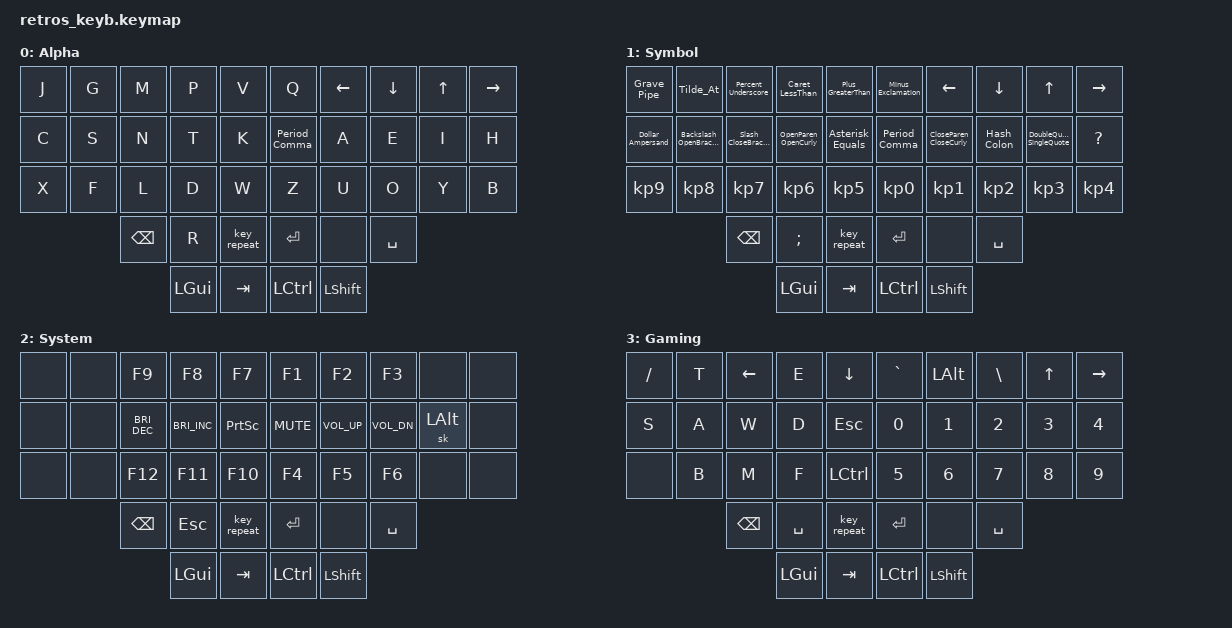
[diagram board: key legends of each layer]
/*
 * Copyright (c) 2020 The ZMK Contributors
 *
 * SPDX-License-Identifier: MIT
 */

#include <behaviors.dtsi>
#include <dt-bindings/zmk/keys.h>

#define DEFAULT 0
#define LOWER  1
#define RAISE  2

/ {
    combos {
        compatible = "zmk,combos";

        switch_to_alpha {
            bindings = <&to 0>;
            key-positions = <34 6>;
        };

        switch_to_symbol {
            bindings = <&to 1>;
            key-positions = <34 7>;
        };

        switch_to_system {
            bindings = <&to 2>;
            key-positions = <34 8>;
        };

        switch_to_workspace1 {
            bindings = <&kp LG(KP_NUMBER_1)>;
            key-positions = <34 35 15>;
        };

        switch_to_workspace2 {
            bindings = <&kp LG(KP_NUMBER_2)>;
            key-positions = <34 35 16>;
        };

        switch_to_workspace3 {
            bindings = <&kp LG(KP_NUMBER_3)>;
            key-positions = <34 35 17>;
        };

        switch_to_workspace4 {
            bindings = <&kp LG(KP_NUMBER_4)>;
            key-positions = <34 35 18>;
        };

        switch_to_workspace5 {
            bindings = <&kp LG(KP_NUMBER_5)>;
            key-positions = <34 35 19>;
        };

        switch_to_workspace6 {
            bindings = <&kp LG(KP_NUMBER_6)>;
            key-positions = <34 35 14>;
        };

        switch_to_workspace7 {
            bindings = <&kp LG(KP_NUMBER_7)>;
            key-positions = <34 35 13>;
        };

        switch_to_workspace8 {
            bindings = <&kp LG(KP_NUMBER_8)>;
            key-positions = <34 35 12>;
        };

        switch_to_workspace9 {
            bindings = <&kp LG(KP_NUMBER_9)>;
            key-positions = <34 35 11>;
        };

        switch_to_workspace10 {
            bindings = <&kp LG(KP_NUMBER_0)>;
            key-positions = <34 35 10>;
        };

        Home {
            bindings = <&kp HOME>;
            key-positions = <38 36 6>;
        };

        PageDown {
            bindings = <&kp PAGE_DOWN>;
            key-positions = <38 36 7>;
        };

        PageUp {
            bindings = <&kp PG_UP>;
            key-positions = <38 36 8>;
        };

        End {
            bindings = <&kp END>;
            key-positions = <38 36 9>;
        };

        switch_to_gaming {
            bindings = <&to 3>;
            key-positions = <34 9>;
        };

        gaming_F1 {
            bindings = <&kp F1>;
            key-positions = <20 16>;
            layers = <3>;
        };

        gaming_F2 {
            bindings = <&kp F2>;
            key-positions = <20 17>;
            layers = <3>;
        };

        gaming_F3 {
            bindings = <&kp F3>;
            key-positions = <20 18>;
            layers = <3>;
        };

        gaming_F4 {
            bindings = <&kp F4>;
            key-positions = <20 19>;
            layers = <3>;
        };

        gaming_F5 {
            bindings = <&kp F5>;
            key-positions = <20 25>;
            layers = <3>;
        };

        gaming_F6 {
            bindings = <&kp F6>;
            key-positions = <20 26>;
            layers = <3>;
        };

        gaming_F7 {
            bindings = <&kp F7>;
            key-positions = <20 27>;
            layers = <3>;
        };

        gaming_F8 {
            bindings = <&kp F8>;
            key-positions = <20 28>;
            layers = <3>;
        };

        gaming_F9 {
            bindings = <&kp F9>;
            key-positions = <20 29>;
            layers = <3>;
        };

        gaming_F10 {
            bindings = <&kp F10>;
            key-positions = <20 15>;
            layers = <3>;
        };

        gaming_F11 {
            bindings = <&kp F11>;
            key-positions = <20 5>;
            layers = <3>;
        };

        gaming_F12 {
            bindings = <&kp F12>;
            key-positions = <20 6>;
            layers = <3>;
        };
    };

    behaviors {
        Period_Comma: Period_Comma {
            compatible = "zmk,behavior-mod-morph";
            label = "PERIOD_COMMA";
            bindings = <&kp PERIOD>, <&kp COMMA>;

            #binding-cells = <0>;
            mods = <(MOD_LSFT|MOD_RSFT)>;
        };

        Grave_Pipe: Grave_Pipe {
            compatible = "zmk,behavior-mod-morph";
            label = "GRAVE_PIPE";
            bindings = <&kp GRAVE>, <&kp PIPE>;

            #binding-cells = <0>;
            mods = <(MOD_LSFT|MOD_RSFT)>;
        };

        Tilde_At: Tilde_At {
            compatible = "zmk,behavior-mod-morph";
            label = "TILDE_AT";
            bindings = <&kp TILDE>, <&kp AT_SIGN>;

            #binding-cells = <0>;
            mods = <(MOD_LSFT|MOD_RSFT)>;
        };

        Percent_Underscore: Percent_Underscore {
            compatible = "zmk,behavior-mod-morph";
            label = "PERCENT_UNDERSCORE";
            bindings = <&kp PERCENT>, <&kp UNDERSCORE>;

            #binding-cells = <0>;
            mods = <(MOD_LSFT|MOD_RSFT)>;
        };

        Caret_LessThan: Caret_LessThan {
            compatible = "zmk,behavior-mod-morph";
            label = "CARET_LESSTHAN";
            bindings = <&kp CARET>, <&kp LESS_THAN>;

            #binding-cells = <0>;
            mods = <(MOD_LSFT|MOD_RSFT)>;
        };

        Plus_GreaterThan: Plus_GreaterThan {
            compatible = "zmk,behavior-mod-morph";
            label = "PLUS_GREATERTHAN";
            bindings = <&kp PLUS>, <&kp GREATER_THAN>;

            #binding-cells = <0>;
            mods = <(MOD_LSFT|MOD_RSFT)>;
        };

        Minus_Exclamation: Minus_Exclamation {
            compatible = "zmk,behavior-mod-morph";
            label = "MINUS_EXCLAMATION";
            bindings = <&kp MINUS>, <&kp EXCLAMATION>;

            #binding-cells = <0>;
            mods = <(MOD_LSFT|MOD_RSFT)>;
        };

        Dollar_Ampersand: Dollar_Ampersand {
            compatible = "zmk,behavior-mod-morph";
            label = "DOLLAR_AMPERSAND";
            bindings = <&kp DOLLAR>, <&kp AMPERSAND>;

            #binding-cells = <0>;
            mods = <(MOD_LSFT|MOD_RSFT)>;
        };

        Backslash_OpenBracket: Backslash_OpenBracket {
            compatible = "zmk,behavior-mod-morph";
            label = "BACKSLASH_OPENBRACKET";
            bindings = <&kp BACKSLASH>, <&kp LEFT_BRACKET>;

            #binding-cells = <0>;
            mods = <(MOD_LSFT|MOD_RSFT)>;
        };

        Slash_CloseBracket: Slash_CloseBracket {
            compatible = "zmk,behavior-mod-morph";
            label = "SLASH_CLOSEBRACKET";
            bindings = <&kp SLASH>, <&kp RIGHT_BRACKET>;

            #binding-cells = <0>;
            mods = <(MOD_LSFT|MOD_RSFT)>;
        };

        OpenParen_OpenCurly: OpenParen_OpenCurly {
            compatible = "zmk,behavior-mod-morph";
            label = "OPENPAREN_OPENCURLY";
            bindings = <&kp LEFT_PARENTHESIS>, <&kp LEFT_BRACE>;

            #binding-cells = <0>;
            mods = <(MOD_LSFT|MOD_RSFT)>;
        };

        Asterisk_Equals: Asterisk_Equals {
            compatible = "zmk,behavior-mod-morph";
            label = "ASTERISK_EQUALS";
            bindings = <&kp ASTERISK>, <&kp EQUAL>;

            #binding-cells = <0>;
            mods = <(MOD_LSFT|MOD_RSFT)>;
        };

        CloseParen_CloseCurly: CloseParen_CloseCurly {
            compatible = "zmk,behavior-mod-morph";
            label = "CLOSEPAREN_CLOSECURLY";
            bindings = <&kp RIGHT_PARENTHESIS>, <&kp RIGHT_BRACE>;

            #binding-cells = <0>;
            mods = <(MOD_LSFT|MOD_RSFT)>;
        };

        Hash_Colon: Hash_Colon {
            compatible = "zmk,behavior-mod-morph";
            label = "HASH_COLON";
            bindings = <&kp HASH>, <&kp COLON>;

            #binding-cells = <0>;
            mods = <(MOD_LSFT|MOD_RSFT)>;
        };

        DoubleQuote_SingleQuote: DoubleQuote_SingleQuote {
            compatible = "zmk,behavior-mod-morph";
            label = "DOUBLEQUOTE_SINGLEQUOTE";
            bindings = <&kp DOUBLE_QUOTES>, <&kp SINGLE_QUOTE>;

            #binding-cells = <0>;
            mods = <(MOD_LSFT|MOD_RSFT)>;
        };
    };

    keymap {
        compatible = "zmk,keymap";

        alpha_layer {
            bindings = <
&kp J  &kp G  &kp M          &kp P     &kp V          &kp Q          &kp LEFT        &kp DOWN   &kp UP  &kp RIGHT
&kp C  &kp S  &kp N          &kp T     &kp K          &Period_Comma  &kp A           &kp E      &kp I   &kp H
&kp X  &kp F  &kp L          &kp D     &kp W          &kp Z          &kp U           &kp O      &kp Y   &kp B
              &kp BACKSPACE  &kp R     &key_repeat    &kp ENTER      &none           &kp SPACE
                             &kp LGUI  &kp TAB        &kp LCTRL      &kp LEFT_SHIFT
            >;

            label = "Alpha";
        };

        symbol_layer {
            bindings = <
&Grave_Pipe        &Tilde_At               &Percent_Underscore  &Caret_LessThan       &Plus_GreaterThan    &Minus_Exclamation  &kp LEFT                &kp DOWN         &kp UP                    &kp RIGHT
&Dollar_Ampersand  &Backslash_OpenBracket  &Slash_CloseBracket  &OpenParen_OpenCurly  &Asterisk_Equals     &Period_Comma       &CloseParen_CloseCurly  &Hash_Colon      &DoubleQuote_SingleQuote  &kp QUESTION
&kp KP_NUMBER_9    &kp KP_NUMBER_8         &kp KP_NUMBER_7      &kp KP_NUMBER_6       &kp KP_NUMBER_5      &kp KP_NUMBER_0     &kp KP_NUMBER_1         &kp KP_NUMBER_2  &kp KP_NUMBER_3           &kp KP_NUMBER_4
                                           &kp BACKSPACE        &kp SEMICOLON         &key_repeat          &kp ENTER           &none                   &kp SPACE
                                                                &kp LGUI              &kp TAB              &kp LCTRL           &kp LEFT_SHIFT
            >;

            label = "Symbol";
        };

        system_layer {
            bindings = <
&none  &none  &kp F9         &kp F8                &kp F7             &kp F1      &kp F2           &kp F3        &none         &none
&none  &none  &kp C_BRI_DEC  &kp C_BRIGHTNESS_INC  &kp PRINTSCREEN    &kp K_MUTE  &kp C_VOLUME_UP  &kp C_VOL_DN  &sk LEFT_ALT  &none
&none  &none  &kp F12        &kp F11               &kp F10            &kp F4      &kp F5           &kp F6        &none         &none
              &kp BACKSPACE  &kp ESCAPE            &key_repeat        &kp ENTER   &none            &kp SPACE
                             &kp LGUI              &kp TAB            &kp LCTRL   &kp LEFT_SHIFT
            >;

            label = "System";
        };

        Gaming {
            bindings = <
&kp SLASH  &kp T  &kp LEFT_ARROW  &kp E      &kp DOWN       &kp GRAVE     &kp LEFT_ALT    &kp BACKSLASH  &kp UP_ARROW  &kp RIGHT
&kp S      &kp A  &kp W           &kp D      &kp ESCAPE     &kp N0        &kp NUMBER_1    &kp NUMBER_2   &kp NUMBER_3  &kp NUMBER_4
&none      &kp B  &kp M           &kp F      &kp LCTRL      &kp NUMBER_5  &kp NUMBER_6    &kp N7         &kp NUMBER_8  &kp NUMBER_9
                  &kp BACKSPACE   &kp SPACE  &key_repeat    &kp ENTER     &none           &kp SPACE
                                  &kp LGUI   &kp TAB        &kp LCTRL     &kp LEFT_SHIFT
            >;
        };
    };
};
